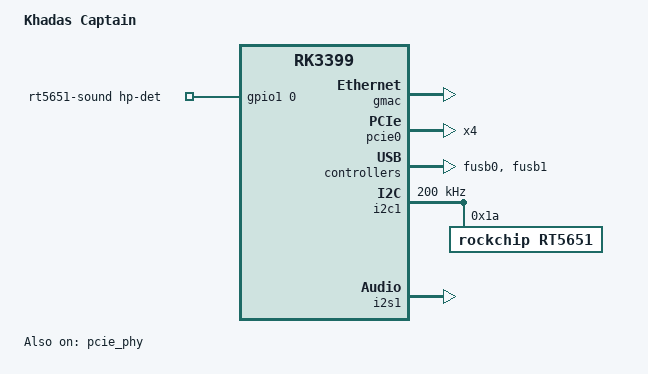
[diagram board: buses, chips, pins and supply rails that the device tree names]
/*
 * Copyright (c) 2018 Wesion Co., Ltd
 *
 * This file is dual-licensed: you can use it either under the terms
 * of the GPL or the X11 license, at your option. Note that this dual
 * licensing only applies to this file, and not this project as a
 * whole.
 *
 *  a) This file is free software; you can redistribute it and/or
 *     modify it under the terms of the GNU General Public License as
 *     published by the Free Software Foundation; either version 2 of the
 *     License, or (at your option) any later version.
 *
 *     This file is distributed in the hope that it will be useful,
 *     but WITHOUT ANY WARRANTY; without even the implied warranty of
 *     MERCHANTABILITY or FITNESS FOR A PARTICULAR PURPOSE.  See the
 *     GNU General Public License for more details.
 *
 * Or, alternatively,
 *
 *  b) Permission is hereby granted, free of charge, to any person
 *     obtaining a copy of this software and associated documentation
 *     files (the "Software"), to deal in the Software without
 *     restriction, including without limitation the rights to use,
 *     copy, modify, merge, publish, distribute, sublicense, and/or
 *     sell copies of the Software, and to permit persons to whom the
 *     Software is furnished to do so, subject to the following
 *     conditions:
 *
 *     The above copyright notice and this permission notice shall be
 *     included in all copies or substantial portions of the Software.
 *
 *     THE SOFTWARE IS PROVIDED "AS IS", WITHOUT WARRANTY OF ANY KIND,
 *     EXPRESS OR IMPLIED, INCLUDING BUT NOT LIMITED TO THE WARRANTIES
 *     OF MERCHANTABILITY, FITNESS FOR A PARTICULAR PURPOSE AND
 *     NONINFRINGEMENT. IN NO EVENT SHALL THE AUTHORS OR COPYRIGHT
 *     HOLDERS BE LIABLE FOR ANY CLAIM, DAMAGES OR OTHER LIABILITY,
 *     WHETHER IN AN ACTION OF CONTRACT, TORT OR OTHERWISE, ARISING
 *     FROM, OUT OF OR IN CONNECTION WITH THE SOFTWARE OR THE USE OR
 *     OTHER DEALINGS IN THE SOFTWARE.
 */

/dts-v1/;

#include "rk3399-khadas-edge.dtsi"

/ {
	model = "Khadas Captain";
	compatible = "khadas,captain", "rockchip,rk3399";

	rt5651-sound {
		compatible = "simple-audio-card";

		pinctrl-names = "default";
		pinctrl-0 = <&rt5651_hpdet>;


		simple-audio-card,format = "i2s";
		simple-audio-card,name = "realtek,rt5651-codec";
		simple-audio-card,mclk-fs = <256>;
		simple-audio-card,hp-det-gpio = <&gpio1 0 GPIO_ACTIVE_HIGH>;
		simple-audio-card,widgets =
			"Microphone", "Mic Jack",
			"Headphone", "Headphone Jack";
		simple-audio-card,routing =
			"Mic Jack", "MICBIAS1",
			"IN1P", "Mic Jack",
			"Headphone Jack", "HPOL",
			"Headphone Jack", "HPOR";
		simple-audio-card,cpu {
			sound-dai = <&i2s1>;
		};
		simple-audio-card,codec {
			sound-dai = <&rt5651>;
		};
	};

    onewire:onewire {
           compatible = "w1-gpio";
           gpios = <&gpio4 0 GPIO_ACTIVE_HIGH>;
           status = "disable";
     };

};

&gmac {
	status = "okay";
};

&pcie_phy {
	status = "okay";
};

&pcie0 {
//	ep-gpios = <&gpio1 3 GPIO_ACTIVE_HIGH>; /* GPIO1_A3 */
	num-lanes = <4>;
//  pinctrl-names = "default";
//  pinctrl-0 = <&pcie_clkreqn_cpm>;
	status = "okay";
};

&fusb0 {
	status = "okay";
	max-input-voltage = <13000000>; /* need to be removed when enable charge IC */
	max-input-current = <6000000>;
};

&fusb1 {
	status = "okay";
	max-input-voltage = <13000000>; /* need to be removed when enable charge IC */
	max-input-current = <6000000>;
};

&i2c1 {
	status = "okay";
	i2c-scl-rising-time-ns = <150>;
	i2c-scl-falling-time-ns = <30>;
	clock-frequency = <200000>;

	rt5651: rt5651@1a {
		#sound-dai-cells = <0>;
		compatible = "rockchip,rt5651";
		reg = <0x1a>;
		clocks = <&cru SCLK_I2S_8CH_OUT>;
		clock-names = "mclk";
		pinctrl-names = "default";
		pinctrl-0 = <&i2s_8ch_mclk>;
		status = "okay";
	};

};

&i2s1 {
	status = "okay";
	rockchip,i2s-broken-burst-len;
	rockchip,playback-channels = <2>;
	rockchip,capture-channels = <2>;
	#sound-dai-cells = <0>;
};

&pinctrl {
	rt5651 {
		rt5651_hpdet: rt5651-hpdet {
			rockchip,pins = <1 0 RK_FUNC_GPIO &pcfg_pull_up>; /* GPIO1_A0 */
		};
	};
};
